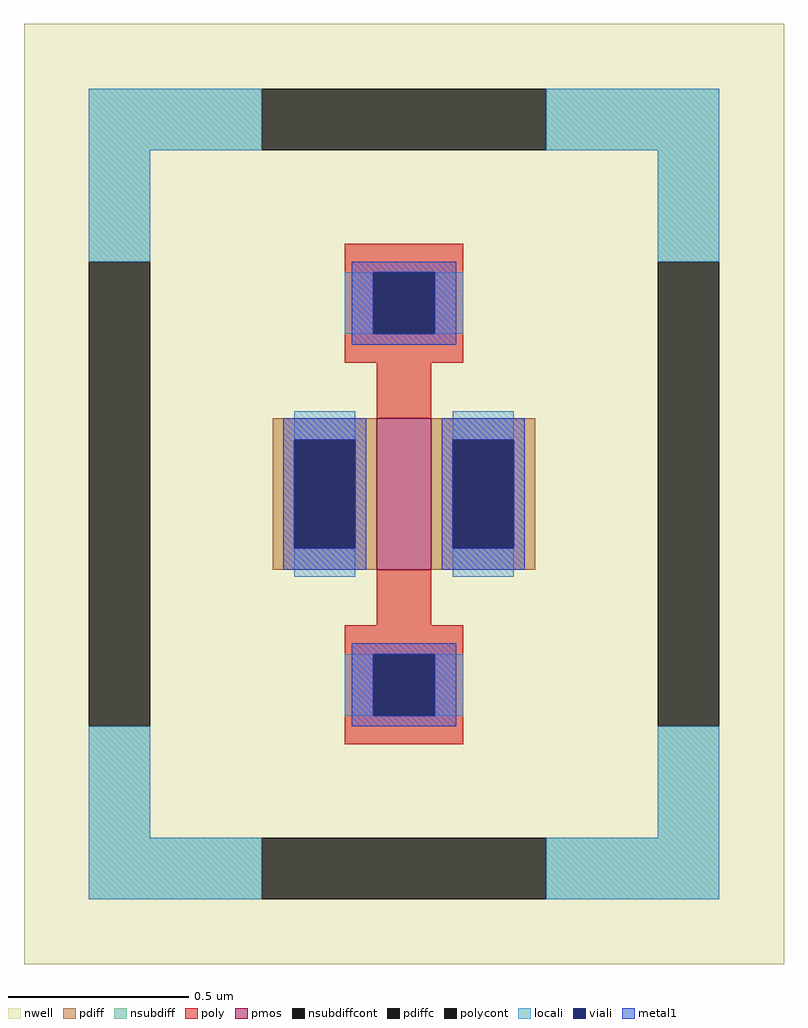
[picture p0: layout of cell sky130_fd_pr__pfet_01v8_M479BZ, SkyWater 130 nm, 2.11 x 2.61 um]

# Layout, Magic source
magic
tech sky130A
magscale 1 2
<< nwell >>
rect -211 -261 211 261
<< pmos >>
rect -15 -42 15 42
<< pdiff >>
rect -73 30 -15 42
rect -73 -30 -61 30
rect -27 -30 -15 30
rect -73 -42 -15 -30
rect 15 30 73 42
rect 15 -30 27 30
rect 61 -30 73 30
rect 15 -42 73 -30
<< pdiffc >>
rect -61 -30 -27 30
rect 27 -30 61 30
<< nsubdiff >>
rect -175 191 -79 225
rect 79 191 175 225
rect -175 129 -141 191
rect 141 129 175 191
rect -175 -191 -141 -129
rect 141 -191 175 -129
rect -175 -225 -79 -191
rect 79 -225 175 -191
<< nsubdiffcont >>
rect -79 191 79 225
rect -175 -129 -141 129
rect 141 -129 175 129
rect -79 -225 79 -191
<< poly >>
rect -33 123 33 139
rect -33 89 -17 123
rect 17 89 33 123
rect -33 73 33 89
rect -15 42 15 73
rect -15 -73 15 -42
rect -33 -89 33 -73
rect -33 -123 -17 -89
rect 17 -123 33 -89
rect -33 -139 33 -123
<< polycont >>
rect -17 89 17 123
rect -17 -123 17 -89
<< locali >>
rect -175 191 -79 225
rect 79 191 175 225
rect -175 129 -141 191
rect 141 129 175 191
rect -33 89 -17 123
rect 17 89 33 123
rect -61 30 -27 46
rect -61 -46 -27 -30
rect 27 30 61 46
rect 27 -46 61 -30
rect -33 -123 -17 -89
rect 17 -123 33 -89
rect -175 -191 -141 -129
rect 141 -191 175 -129
rect -175 -225 -79 -191
rect 79 -225 175 -191
<< viali >>
rect -17 89 17 123
rect -61 -30 -27 30
rect 27 -30 61 30
rect -17 -123 17 -89
<< metal1 >>
rect -29 123 29 129
rect -29 89 -17 123
rect 17 89 29 123
rect -29 83 29 89
rect -67 30 -21 42
rect -67 -30 -61 30
rect -27 -30 -21 30
rect -67 -42 -21 -30
rect 21 30 67 42
rect 21 -30 27 30
rect 61 -30 67 30
rect 21 -42 67 -30
rect -29 -89 29 -83
rect -29 -123 -17 -89
rect 17 -123 29 -89
rect -29 -129 29 -123
<< properties >>
string FIXED_BBOX -158 -208 158 208
string gencell sky130_fd_pr__pfet_01v8
string library sky130
string parameters w 0.42 l 0.15 m 1 nf 1 diffcov 100 polycov 100 guard 1 glc 1 grc 1 gtc 1 gbc 1 tbcov 100 rlcov 100 topc 1 botc 1 poverlap 0 doverlap 1 lmin 0.15 wmin 0.42 compatible {sky130_fd_pr__pfet_01v8  sky130_fd_pr__pfet_01v8_lvt sky130_fd_pr__pfet_01v8_hvt  sky130_fd_pr__pfet_g5v0d10v5} full_metal 1 viasrc 100 viadrn 100 viagate 100 viagb 0 viagr 0 viagl 0 viagt 0
<< end >>
